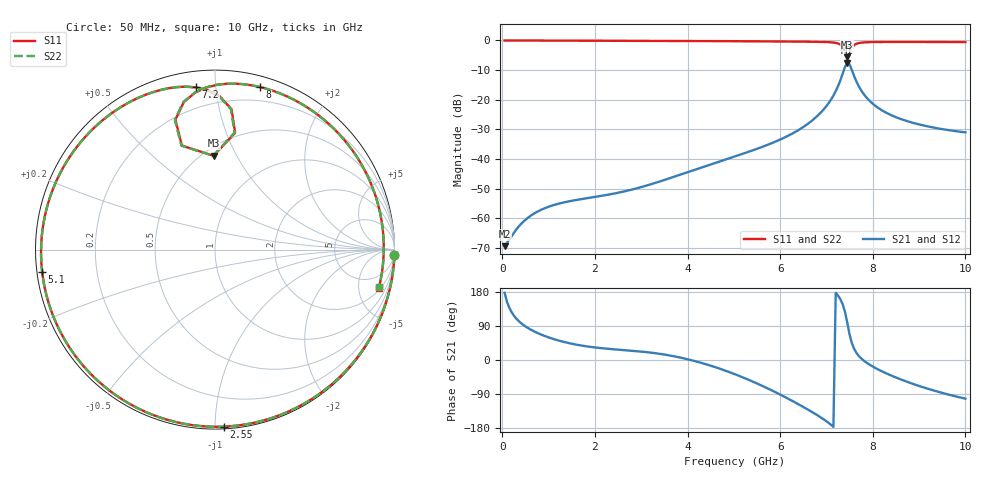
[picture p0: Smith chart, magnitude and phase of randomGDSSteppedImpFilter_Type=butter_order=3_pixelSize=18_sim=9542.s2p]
! freq	dB(S11)	phase(S11)	dB(S12)	phase(S12)
!  dB(S21)	phase(S21)	dB(S22)	phase(S22)
!S-par simulation data
#  GHz  S  DB  R 50
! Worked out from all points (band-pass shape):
!   200 points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, 50 MHz to 10 GHz, reference 50 ohm
!   highest |S21| = -7.52 dB at 7.45 GHz (marker M1); lowest = -69.4 dB at 50 MHz (marker M2)
!   |S21| within 3 dB of the highest: 7.366 GHz to 7.562 GHz (196.2 MHz wide, 2.63 % of centre)
!   lowest |S11| = -5.6 dB at 7.45 GHz (marker M3), VSWR 3.19, Z = 28.2 + j40.5 ohm
!   |S11| at or under -10 dB: nowhere
!   |S22| runs from -5.6 to 0.0 dB; largest |S21 - S12| = 0
!   S11 on the Smith chart (normalised r, x): 50 MHz: 0, -65; 2.55 GHz: 0.01, -1.05; 5.1 GHz: 0.01, -0.06; 7.2 GHz: 0.08, +0.89; 8 GHz: 0.08, +1.31; 10 GHz: 2.31, -8.08
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0.05  -0.00 -1.8  -69.38 177.3  -69.38 177.3  -0.00 -1.8
0.4  -0.02 -14.1  -61.97 97.8  -61.97 97.8  -0.02 -14.1
0.7  -0.03 -24.5  -58.24 74.7  -58.24 74.7  -0.03 -24.5
1.75  -0.08 -60.4  -53.39 37.3  -53.39 37.3  -0.08 -60.4
2.55  -0.11 -87.1  -51.20 26.9  -51.20 26.9  -0.11 -87.1
3.4  -0.15 -115.0  -47.57 16.3  -47.57 16.3  -0.15 -115.0
4.3  -0.20 -144.9  -42.86 -7.7  -42.86 -7.7  -0.20 -144.8
5.05  -0.25 -170.8  -38.97 -38.8  -38.97 -38.8  -0.25 -170.7
5.1  -0.26 -172.6  -38.71 -41.2  -38.71 -41.2  -0.26 -172.5
5.9  -0.33 157.5  -34.11 -85.0  -34.11 -85.0  -0.33 157.6
6.7  -0.43 123.7  -26.88 -138.1  -26.88 -138.1  -0.43 123.9
7.2  -0.82 96.6  -17.11 177.3  -17.11 177.3  -0.82 96.9
7.3  -1.36 88.3  -13.46 160.4  -13.46 160.4  -1.36 88.5
7.4  -3.60 80.2  -8.95 127.0  -8.95 127.0  -3.60 80.5
7.45  -5.64 90.9  -7.52 98.0  -7.52 98.0  -5.63 91.2
7.5  -4.32 107.7  -8.10 66.9  -8.10 66.9  -4.31 107.9
7.55  -2.42 106.9  -10.02 43.8  -10.02 43.8  -2.42 107.2
7.7  -0.87 93.0  -15.50 10.5  -15.50 10.5  -0.87 93.3
8  -0.54 74.5  -21.34 -17.3  -21.34 -17.3  -0.54 74.8
8.35  -0.50 57.0  -24.84 -38.4  -24.84 -38.4  -0.50 57.3
9.15  -0.51 20.8  -28.86 -74.4  -28.86 -74.4  -0.51 21.2
10  -0.56 -13.1  -31.00 -102.0  -31.00 -102.0  -0.56 -12.7
